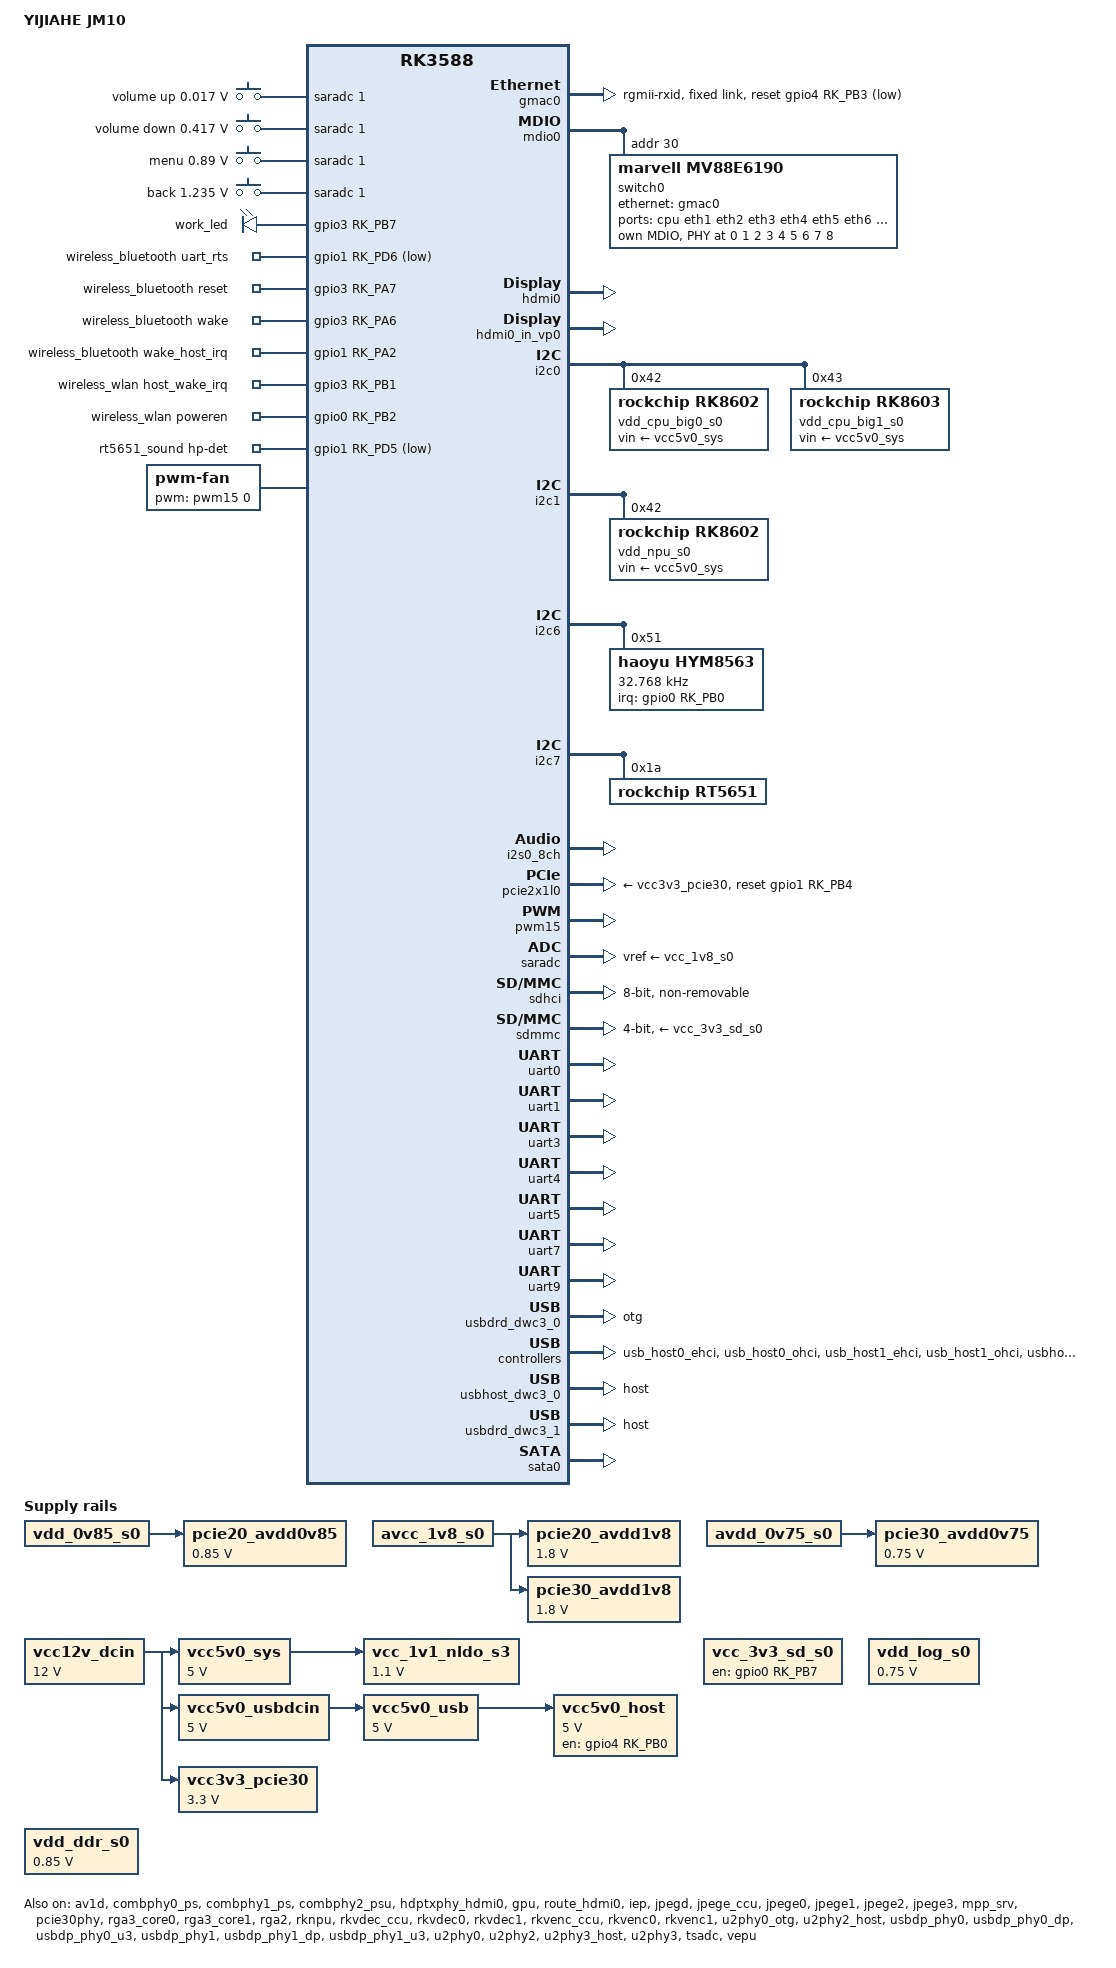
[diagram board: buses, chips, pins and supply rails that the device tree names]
// SPDX-License-Identifier: (GPL-2.0+ OR MIT)
/*
* Copyright (c) 2021 Rockchip Electronics Co., Ltd.
*
*/

/dts-v1/;

#include <dt-bindings/gpio/gpio.h>
#include <dt-bindings/leds/common.h>
#include <dt-bindings/pwm/pwm.h>
#include <dt-bindings/pinctrl/rockchip.h>
#include <dt-bindings/input/rk-input.h>
#include <dt-bindings/display/drm_mipi_dsi.h>
#include <dt-bindings/display/rockchip_vop.h>
#include <dt-bindings/sensor-dev.h>
#include <dt-bindings/usb/pd.h>
#include "rk3588.dtsi"
#include "rk3588-rk806-single.dtsi"
#include "rk3588-linux.dtsi"

/ {
	model = "YIJIAHE JM10";
	compatible = "yijiahe,jm10", "rockchip,rk3588";

	adc_keys: adc-keys {
		compatible = "adc-keys";
		io-channels = <&saradc 1>;
		io-channel-names = "buttons";
		keyup-threshold-microvolt = <1800000>;
		poll-interval = <100>;

		vol-up-key {
			label = "volume up";
			linux,code = <KEY_VOLUMEUP>;
			press-threshold-microvolt = <17000>;
		};

		vol-down-key {
			label = "volume down";
			linux,code = <KEY_VOLUMEDOWN>;
			press-threshold-microvolt = <417000>;
		};

		menu-key {
			label = "menu";
			linux,code = <KEY_MENU>;
			press-threshold-microvolt = <890000>;
		};

		back-key {
			label = "back";
			linux,code = <KEY_BACK>;
			press-threshold-microvolt = <1235000>;
		};
	};

	bt_sco: bt-sco {
		status = "disabled";
		compatible = "delta,dfbmcs320";
		#sound-dai-cells = <1>;
	};

	bt_sound: bt-sound {
		status = "disabled";
		compatible = "simple-audio-card";
		simple-audio-card,format = "dsp_a";
		simple-audio-card,bitclock-inversion;
		simple-audio-card,mclk-fs = <256>;
		simple-audio-card,name = "rockchip,bt";
		simple-audio-card,cpu {
			sound-dai = <&i2s2_2ch>;
		};
		simple-audio-card,codec {
			sound-dai = <&bt_sco 1>;
		};
	};

	hdmi0_sound: hdmi0-sound {
		status = "disabled";
		compatible = "rockchip,hdmi";
		rockchip,mclk-fs = <128>;
		rockchip,card-name = "rockchip-hdmi0";
		rockchip,cpu = <&i2s5_8ch>;
		rockchip,codec = <&hdmi0>;
		rockchip,jack-det;
	};

	hdmi1_sound: hdmi1-sound {
		status = "disabled";
		compatible = "rockchip,hdmi";
		rockchip,mclk-fs = <128>;
		rockchip,card-name = "rockchip-hdmi1";
		rockchip,cpu = <&i2s6_8ch>;
		rockchip,codec = <&hdmi1>;
		rockchip,jack-det;
	};

	leds: leds {
		compatible = "gpio-leds";
		work_led: work {
			gpios = <&gpio3 RK_PB7 GPIO_ACTIVE_HIGH>;
			linux,default-trigger = "heartbeat";
		};
	};

	test-power {
		status = "okay";
	};

	vcc12v_dcin: vcc12v-dcin {
		compatible = "regulator-fixed";
		regulator-name = "vcc12v_dcin";
		regulator-always-on;
		regulator-boot-on;
		regulator-min-microvolt = <12000000>;
		regulator-max-microvolt = <12000000>;
	};

	vcc5v0_sys: vcc5v0-sys {
		compatible = "regulator-fixed";
		regulator-name = "vcc5v0_sys";
		regulator-always-on;
		regulator-boot-on;
		regulator-min-microvolt = <5000000>;
		regulator-max-microvolt = <5000000>;
		vin-supply = <&vcc12v_dcin>;
	};

	vcc5v0_usbdcin: vcc5v0-usbdcin {
		compatible = "regulator-fixed";
		regulator-name = "vcc5v0_usbdcin";
		regulator-always-on;
		regulator-boot-on;
		regulator-min-microvolt = <5000000>;
		regulator-max-microvolt = <5000000>;
		vin-supply = <&vcc12v_dcin>;
	};

	vcc5v0_usb: vcc5v0-usb {
		compatible = "regulator-fixed";
		regulator-name = "vcc5v0_usb";
		regulator-always-on;
		regulator-boot-on;
		regulator-min-microvolt = <5000000>;
		regulator-max-microvolt = <5000000>;
		vin-supply = <&vcc5v0_usbdcin>;
	};

	pcie20_avdd0v85: pcie20-avdd0v85 {
		compatible = "regulator-fixed";
		regulator-name = "pcie20_avdd0v85";
		regulator-boot-on;
		regulator-always-on;
		regulator-min-microvolt = <850000>;
		regulator-max-microvolt = <850000>;
		vin-supply = <&vdd_0v85_s0>;
	};

	pcie20_avdd1v8: pcie20-avdd1v8 {
		compatible = "regulator-fixed";
		regulator-name = "pcie20_avdd1v8";
		regulator-boot-on;
		regulator-always-on;
		regulator-min-microvolt = <1800000>;
		regulator-max-microvolt = <1800000>;
		vin-supply = <&avcc_1v8_s0>;
	};

	pcie30_avdd0v75: pcie30-avdd0v75 {
		compatible = "regulator-fixed";
		regulator-name = "pcie30_avdd0v75";
		regulator-boot-on;
		regulator-always-on;
		regulator-min-microvolt = <750000>;
		regulator-max-microvolt = <750000>;
		vin-supply = <&avdd_0v75_s0>;
	};

	pcie30_avdd1v8: pcie30-avdd1v8 {
		compatible = "regulator-fixed";
		regulator-name = "pcie30_avdd1v8";
		regulator-boot-on;
		regulator-always-on;
		regulator-min-microvolt = <1800000>;
		regulator-max-microvolt = <1800000>;
		vin-supply = <&avcc_1v8_s0>;
	};

	vcc_1v1_nldo_s3: vcc-1v1-nldo-s3 {
		compatible = "regulator-fixed";
		regulator-name = "vcc_1v1_nldo_s3";
		regulator-always-on;
		regulator-boot-on;
		regulator-min-microvolt = <1100000>;
		regulator-max-microvolt = <1100000>;
		vin-supply = <&vcc5v0_sys>;
	};

	vcc3v3_pcie30: vcc3v3-pcie30 {
		compatible = "regulator-fixed";
		regulator-name = "vcc3v3_pcie30";
		regulator-min-microvolt = <3300000>;
		regulator-max-microvolt = <3300000>;
		regulator-boot-on;
		enable-active-high;
		pinctrl-names = "default";
		pinctrl-0 = <&wifi_poweren_gpio>;
		vin-supply = <&vcc12v_dcin>;
		//gpios = <&gpio1 RK_PB2 GPIO_ACTIVE_HIGH>;
		//startup-delay-us = <5000>;
	};

	vcc5v0_host: vcc5v0-host {
		compatible = "regulator-fixed";
		regulator-name = "vcc5v0_host";
		regulator-boot-on;
		regulator-always-on;
		regulator-min-microvolt = <5000000>;
		regulator-max-microvolt = <5000000>;
		enable-active-high;
		gpio = <&gpio4 RK_PB0 GPIO_ACTIVE_HIGH>;
		vin-supply = <&vcc5v0_usb>;
		pinctrl-names = "default";
		pinctrl-0 = <&vcc5v0_host_en>;
	};

	vcc_3v3_sd_s0: vcc-3v3-sd-s0-regulator {
		compatible = "regulator-fixed";
		gpio = <&gpio0 RK_PB7 GPIO_ACTIVE_HIGH>;
		pinctrl-names = "default";
		pinctrl-0 = <&sd_s0_pwr>;
		regulator-name = "vcc_3v3_sd_s0";
		enable-active-high;
	};

	wireless_bluetooth: wireless-bluetooth {
		compatible = "bluetooth-platdata";
		clocks = <&hym8563>;
		clock-names = "ext_clock";
		uart_rts_gpios = <&gpio1 RK_PD6 GPIO_ACTIVE_LOW>;
		pinctrl-names = "default", "rts_gpio";
		pinctrl-0 = <&uart1m1_rtsn>;
		pinctrl-1 = <&uart1_rts_gpio>;
		BT,reset_gpio    = <&gpio3 RK_PA7 GPIO_ACTIVE_HIGH>;
		BT,wake_gpio     = <&gpio3 RK_PA6 GPIO_ACTIVE_HIGH>;
		BT,wake_host_irq = <&gpio1 RK_PA2 GPIO_ACTIVE_HIGH>;
		status = "okay";
	};

	wireless_wlan: wireless-wlan {
		compatible = "wlan-platdata";
		wifi_chip_type = "ap6275p";
		pinctrl-names = "default";
		pinctrl-0 = <&wifi_host_wake_irq>;
		WIFI,host_wake_irq = <&gpio3 RK_PB1 GPIO_ACTIVE_HIGH>;
		WIFI,poweren_gpio = <&gpio0 RK_PB2 GPIO_ACTIVE_HIGH>;
		status = "okay";
	};


	/* If hdmirx node is disabled, delete the reserved-memory node here. */
	reserved-memory {
		#address-cells = <2>;
		#size-cells = <2>;
		ranges;
	
		/* Reserve 256MB memory for hdmirx-controller@fdee0000 */
		cma {
			compatible = "shared-dma-pool";
			reusable;
			reg = <0x00 0x10000000 0x00 0x8000000>;
			size = <0x00 0x800000>;
			linux,cma-default;
		};
	};

	rt5651_sound: rt5651-sound {
		status = "okay";
		compatible = "simple-audio-card";
		pinctrl-names = "default";
		pinctrl-0 = <&hp_det>;
		simple-audio-card,hp-det-gpio = <&gpio1 RK_PD5 GPIO_ACTIVE_LOW>;
		simple-audio-card,format = "i2s";
		simple-audio-card,name = "realtek,rt5651-codec";
		simple-audio-card,mclk-fs = <256>;
		simple-audio-card,widgets =
			"Headphone", "Headphone Jack",
			"Speaker", "Speaker";
		simple-audio-card,routing =
			"Speaker", "HPOL MIX",
			"Speaker", "HPOR MIX",
			"Headphone Jack", "HPOL MIX",
			"Headphone Jack", "HPOR MIX";
		simple-audio-card,cpu {
			sound-dai = <&i2s0_8ch>;
		};
		simple-audio-card,codec {
			sound-dai = <&rt5651>;
		};
	};

	fan: pwm-fan {
		status = "okay";
		compatible = "pwm-fan";
		#cooling-cells = <2>;
		pwms = <&pwm15 0 1000000 0>;
		duty_ns = <500000>;
		cooling-levels = <0 50 100 150 220 255>;
		rockchip,temp-trips = <
			40000   1
			45000   2
			50000   3
			55000   4
			60000   5
		>;
	};

};

&av1d {
	status = "okay";
};

&av1d_mmu {
	status = "okay";
};

/* sata pm */
&combphy0_ps {
	status = "okay";
};

&combphy1_ps {
	status = "okay";
};

// USB3.1/SATA/PCIe Combo PHY
&combphy2_psu {
	status = "okay";
};

&cpu_l0 {
	cpu-supply = <&vdd_cpu_lit_s0>;
	mem-supply = <&vdd_cpu_lit_mem_s0>;
};

&cpu_b0 {
	cpu-supply = <&vdd_cpu_big0_s0>;
	mem-supply = <&vdd_cpu_big0_mem_s0>;
};

&cpu_b2 {
	cpu-supply = <&vdd_cpu_big1_s0>;
	mem-supply = <&vdd_cpu_big1_mem_s0>;
};

#if kerneL_legacy_5_10
&display_subsystem {
	clocks = <&hdptxphy_hdmi_clk0>;
	clock-names = "hdmi0_phy_pll";
};
#else
&display_subsystem {
	clocks = <&hdptxphy_hdmi0>;
	clock-names = "hdmi0_phy_pll";
};
#endif

&hdptxphy_hdmi0 {
	status = "okay";
};

&gmac0 {
	/* Use rgmii-rxid mode to disable rx delay inside Soc */
	phy-mode = "rgmii-rxid";
	clock_in_out = "output";
	snps,reset-gpio = <&gpio4 RK_PB3 GPIO_ACTIVE_LOW>;
	snps,reset-active-low;
	/* Reset time is 20ms, 100ms for rtl8211f */
	snps,reset-delays-us = <0 20000 100000>;

	pinctrl-names = "default";
	pinctrl-0 = <&gmac0_miim
	&gmac0_tx_bus2
	&gmac0_rx_bus2
	&gmac0_rgmii_clk
	&gmac0_rgmii_bus>;

	tx_delay = <0x45>;
	//rx_delay = <0x4a>;
	status = "okay";

	//phy-handle = <&rgmii_phy0>;

	fixed-link {
		speed = <1000>;
		full-duplex;
	};

};


/*
&mdio0 {
	rgmii_phy0: phy@1 {
		compatible = "ethernet-phy-ieee802.3-c22";
		reg = <0x1>;
	};
};
*/


&mdio0 {
	switch0: switch@0 {
		compatible = "marvell,mv88e6190";
		#address-cells = <1>;
		#size-cells = <0>;				
		reg = <0x1e>;
		dsa,member = <0 0>;
		status = "okay";

		ports {
			#address-cells = <1>;
			#size-cells = <0>;

			port@0 {
				reg = <0x0>;
				label = "cpu";
				ethernet = <&gmac0>;
				phy-handle = <&switch0phy0>;
				phy-mode = "rgmii";

				fixed-link {
					speed = <1000>;
					full-duplex;
				};

			};

			port@1 {
				reg = <0x1>;
				label = "eth1";
				phy-handle = <&switch0phy1>;
			};

			port@2 {
				reg = <0x2>;
				label = "eth2";
				phy-handle = <&switch0phy2>;
			};

			port@3 {
				reg = <0x3>;
				label = "eth3";
				phy-handle = <&switch0phy3>;
			};

			port@4 {
				reg = <0x4>;
				label = "eth4";
				phy-handle = <&switch0phy4>;
			};

			port@5 {
				reg = <0x5>;
				label = "eth5";
				phy-handle = <&switch0phy5>;
			};

			port@6 {
				reg = <0x6>;
				label = "eth6";
				phy-handle = <&switch0phy6>;
			};


			port@7 {
				reg = <0x7>;
				label = "eth7";
				phy-handle = <&switch0phy7>;
			};

			port@8 {
				reg = <0x8>;
				label = "eth8";
				phy-handle = <&switch0phy8>;
			};
		};	

		mdio {
			#address-cells = <1>;
			#size-cells = <0>;

			// The MV88E6390 does not report the phy type on the MDIO bus properly, so we force it to the correct value here using the compatible property. 
			switch0phy0: ethernet-phy@0 {
				compatible = "ethernet-phy-id0141.0f90";
				reg = <0>;
				broken-turn-around;
			};
			switch0phy1: ethernet-phy@1 {
				compatible = "ethernet-phy-id0141.0f90";
				reg = <1>;
				broken-turn-around;
			};
			switch0phy2: ethernet-phy@2 {
				compatible = "ethernet-phy-id0141.0f90";
				reg = <2>;
				broken-turn-around;
			};
			switch0phy3: ethernet-phy@3 {
				compatible = "ethernet-phy-id0141.0f90";
				reg = <3>;
				broken-turn-around;
			};
			switch0phy4: ethernet-phy@4 {
				compatible = "ethernet-phy-id0141.0f90";
				reg = <4>;
				broken-turn-around;
			};
			switch0phy5: ethernet-phy@5 {
				compatible = "ethernet-phy-id0141.0f90";
				reg = <5>;
				broken-turn-around;
			};
			switch0phy6: ethernet-phy@6 {
				compatible = "ethernet-phy-id0141.0f90";
				reg = <6>;
				broken-turn-around;
			};
			switch0phy7: ethernet-phy@7 {
				compatible = "ethernet-phy-id0141.0f90";
				reg = <7>;
				broken-turn-around;
			};
			switch0phy8: ethernet-phy@8 {
				compatible = "ethernet-phy-id0141.0f90";
				reg = <8>;
				broken-turn-around;
			};
		};

	};
};

&gpu {
	mali-supply = <&vdd_gpu_s0>;
	mem-supply = <&vdd_gpu_mem_s0>;
	status = "okay";
};

&hdmi0 {
	enable-gpios = <&gpio4 RK_PB1 GPIO_ACTIVE_HIGH>;
	status = "okay";
};

&hdmi0_in_vp0 {
	status = "okay";
};

&route_hdmi0{
	status = "okay";
};

&i2c0 {
	pinctrl-0 = <&i2c0m2_xfer>;
	#address-cells = <1>;
	#size-cells = <0>;
	status = "okay";

	vdd_cpu_big0_s0: vdd_cpu_big0_mem_s0: rk8602@42 {
		compatible = "rockchip,rk8602";
		reg = <0x42>;
		vin-supply = <&vcc5v0_sys>;
		regulator-compatible = "rk860x-reg";
		//regulator-name = "vdd_cpu_big0_s1";
		regulator-name = "vdd_cpu_big0_s0";
		regulator-min-microvolt = <550000>;
		regulator-max-microvolt = <1050000>;
		regulator-ramp-delay = <2300>;
		rockchip,suspend-voltage-selector = <1>;
		regulator-boot-on;
		regulator-always-on;
		regulator-state-mem {
			regulator-off-in-suspend;
		};
	};

	vdd_cpu_big1_s0: vdd_cpu_big1_mem_s0: rk8603@43 {
		compatible = "rockchip,rk8603";
		reg = <0x43>;
		vin-supply = <&vcc5v0_sys>;
		regulator-compatible = "rk860x-reg";
		regulator-name = "vdd_cpu_big1_s0";
		regulator-min-microvolt = <550000>;
		regulator-max-microvolt = <1050000>;
		regulator-ramp-delay = <2300>;
		rockchip,suspend-voltage-selector = <1>;
		regulator-boot-on;
		regulator-always-on;
		regulator-state-mem {
			regulator-off-in-suspend;
		};
	};
};

&i2c1 {
	status = "okay";
	pinctrl-names = "default";
	pinctrl-0 = <&i2c1m2_xfer>;

	vdd_npu_s0: vdd_npu_mem_s0: rk8602@42 {
		compatible = "rockchip,rk8602";
		reg = <0x42>;
		vin-supply = <&vcc5v0_sys>;
		regulator-compatible = "rk860x-reg";
		regulator-name = "vdd_npu_s0";
		regulator-min-microvolt = <550000>;
		regulator-max-microvolt = <950000>;
		regulator-ramp-delay = <2300>;
		rockchip,suspend-voltage-selector = <1>;
		regulator-boot-on;
		regulator-always-on;
		regulator-state-mem {
			regulator-off-in-suspend;
		};
	};
};

&i2c4 {
	pinctrl-0 = <&i2c4m1_xfer>;
	status = "disabled";
};

&i2c6 {
	status = "okay";
	//clock-frequency = <400000>;// For others Display Port Screen
	pinctrl-names = "default";
	pinctrl-0 = <&i2c6m0_xfer>;

	hym8563: hym8563@51 {
		compatible = "haoyu,hym8563";
		reg = <0x51>;
		#clock-cells = <0>;
		clock-frequency = <32768>;
		clock-output-names = "hym8563";
		pinctrl-names = "default";
		pinctrl-0 = <&hym8563_int>;
		interrupt-parent = <&gpio0>;
		interrupts = <RK_PB0 IRQ_TYPE_LEVEL_LOW>;
		wakeup-source;
		status = "okay";
	};

};

&i2c7 {
	status = "okay";

	rt5651: rt5651@1a {
		status = "okay";
		#sound-dai-cells = <0>;
		compatible = "rockchip,rt5651";
		reg = <0x1a>;
		clock-names = "mclk";
		clocks = <&cru I2S0_8CH_MCLKOUT>;
		assigned-clocks = <&cru I2S0_8CH_MCLKOUT>;
		assigned-clock-rates = <1050000>;
		pinctrl-names = "default";
		pinctrl-0 = <&i2s0_mclk>;
	};
};

&i2s0_8ch {
	status = "okay";
	pinctrl-0 = <&i2s0_lrck
	&i2s0_sclk
	&i2s0_sdi0
	&i2s0_sdo0>;
};

&iep {
	status = "okay";
};

&iep_mmu {
	status = "okay";
};

&jpegd {
	status = "okay";
};

&jpegd_mmu {
	status = "okay";
};

&jpege_ccu {
	status = "okay";
};

&jpege0 {
	status = "okay";
};

&jpege0_mmu {
	status = "okay";
};

&jpege1 {
	status = "okay";
};

&jpege1_mmu {
	status = "okay";
};

&jpege2 {
	status = "okay";
};

&jpege2_mmu {
	status = "okay";
};

&jpege3 {
	status = "okay";
};

&jpege3_mmu {
	status = "okay";
};

&mpp_srv {
	status = "okay";
};

&pcie2x1l0 {
	reset-gpios = <&gpio1 RK_PB4 GPIO_ACTIVE_HIGH>;
	rockchip,skip-scan-in-resume;
	status = "okay";
	rockchip,perst-inactive-ms = <500>;
	vpcie3v3-supply = <&vcc3v3_pcie30>;
};

/* pcie3.0 x 4 slot */
&pcie30phy {
	status = "okay";
	rockchip,pcie30-phymode = <PHY_MODE_PCIE_AGGREGATION>;
};

&pinctrl {

	headphone {
		hp_det: hp-det {
			rockchip,pins = <1 RK_PD5 RK_FUNC_GPIO &pcfg_pull_none>;
		};
	};

	hym8563 {
		hym8563_int: hym8563-int {
			rockchip,pins = <0 RK_PB0 RK_FUNC_GPIO &pcfg_pull_up>;
		};
	};


	sdio-pwrseq {
		wifi_enable_h: wifi-enable-h {
			rockchip,pins = <0 RK_PC4 RK_FUNC_GPIO &pcfg_pull_up>;
		};
	};

	sdmmc {
		sd_s0_pwr: sd-s0-pwr {
			rockchip,pins = <0 RK_PB7 RK_FUNC_GPIO &pcfg_pull_up>;
		};
	};

	usb {
		vcc5v0_host_en: vcc5v0-host-en {
			rockchip,pins = <4 RK_PB0 RK_FUNC_GPIO &pcfg_pull_none>;
		};
	};


	wireless-bluetooth {
		uart1_rts_gpio: uart1-rts-gpio {
			rockchip,pins = <1 RK_PD6 RK_FUNC_GPIO &pcfg_pull_none>;
		};
	};

	wireless-wlan {
		wifi_poweren_gpio: wifi-poweren-gpio {
			rockchip,pins = <3 RK_PB1 RK_FUNC_GPIO &pcfg_pull_up>;
		};

		wifi_host_wake_irq: wifi-host-wake-irq {
			rockchip,pins = <0 RK_PB2 RK_FUNC_GPIO &pcfg_pull_up>;
		};
	};
};

&pwm15 {
	//pinctrl-names = "active";
	pinctrl-0 = <&pwm15m2_pins>;
	status = "okay";
};

&rga3_core0 {
	status = "okay";
};

&rga3_0_mmu {
	status = "okay";
};

&rga3_core1 {
	status = "okay";
};

&rga3_1_mmu {
	status = "okay";
};

&rga2 {
	status = "okay";
};

&rknpu {
	rknpu-supply = <&vdd_npu_s0>;
	mem-supply = <&vdd_npu_mem_s0>;
	status = "okay";
};

&rknpu_mmu {
	status = "okay";
};

&rkvdec_ccu {
	status = "okay";
};

&rkvdec0 {
	status = "okay";
};

&rkvdec0_mmu {
	status = "okay";
};

&rkvdec1 {
	status = "okay";
};

&rkvdec1_mmu {
	status = "okay";
};

&rkvenc_ccu {
	status = "okay";
};

&rkvenc0 {
	/*evb add */
	venc-supply = <&vdd_vdenc_s0>;
	mem-supply = <&vdd_vdenc_mem_s0>;
	status = "okay";
};

&rkvenc0_mmu {
	status = "okay";
};

&rkvenc1 {
	/*evb add */
	venc-supply = <&vdd_vdenc_s0>;
	mem-supply = <&vdd_vdenc_mem_s0>;
	status = "okay";
};

&rkvenc1_mmu {
	status = "okay";
};

&rockchip_suspend {
	status = "okay";
	rockchip,sleep-debug-en = <1>;
};

&saradc {
	status = "okay";
	vref-supply = <&vcc_1v8_s0>;
};

&sdhci {
	bus-width = <8>;
	no-sdio;
	no-sd;
	non-removable;
	max-frequency = <200000000>;
	mmc-hs400-1_8v;
	mmc-hs400-enhanced-strobe;
	status = "okay";
};

&sdmmc {
	max-frequency = <150000000>;
	no-sdio;
	no-mmc;
	bus-width = <4>;
	cap-mmc-highspeed;
	cap-sd-highspeed;
	disable-wp;
	sd-uhs-sdr104;
	vqmmc-supply = <&vccio_sd_s0>;
	vmmc-supply = <&vcc_3v3_sd_s0>;
	status = "okay";
};

&soc_thermal {
	sustainable-power = <15000>;
	polling-delay = <1000>;
	polling-delay-passive = <2000>;

	trips {
		trip0: trip-point@0 {
			temperature = <55000>;
			hysteresis = <5000>;
			type = "active";
		};
		trip1: trip-point@1 {
			temperature = <60000>;
			hysteresis = <5000>;
			type = "active";
		};
		trip2: trip-point@2 {
			temperature = <65000>;
			hysteresis = <5000>;
			type = "active";
		};
		trip3: trip-point@3 {
			temperature = <70000>;
			hysteresis = <5000>;
			type = "active";
		};
		trip4: trip-point@4 {
			temperature = <75000>;
			hysteresis = <5000>;
			type = "active";
		};
		pcritical: trip-point@5 {
			temperature = <80000>;
			hysteresis = <1000>;
			type = "active";
		};
	};

	cooling-maps {
		map0 {
			trip = <&trip0>;
			cooling-device = <&fan 0 1>;
			contribution = <1024>;
		};
		map1 {
			trip = <&trip1>;
			cooling-device = <&fan 1 2>;
			contribution = <1024>;
		};
		map2 {
			trip = <&trip2>;
			cooling-device = <&fan 2 3>;
			contribution = <1024>;
		};
		map3 {
			trip = <&trip3>;
			cooling-device = <&fan 3 4>;
			contribution = <1024>;
		};
		map4 {
			trip = <&trip4>;
			cooling-device = <&fan 4 5>;
			contribution = <1024>;
		};
		map5 {
			trip = <&pcritical>;
			cooling-device = <&fan 5 6>;
			contribution = <1024>;
		};
	};
};

&uart0 {
    pinctrl-0 = <&uart0m2_xfer>;
    status = "okay";
};

&uart1 {
	status = "okay";
	pinctrl-names = "default";
	pinctrl-0 = <&uart1m1_xfer>, <&uart1m1_ctsn>;
};

&uart3 {
    status = "okay";
};

&uart4 {
    status = "okay";
};

&uart5 {
    status = "okay";
};

&uart7 {
    status = "okay";
};

&uart9 {
	pinctrl-names = "default";
	pinctrl-0 = <&uart9m2_xfer>;
	status = "okay";
};

&u2phy0_otg {
	//rockchip,typec-vbus-det;
	status = "okay";
};

&u2phy2_host {
	phy-supply = <&vcc5v0_host>;
	status = "okay";
};

&usbdp_phy0 {
	status = "okay";
	rockchip,dp-lane-mux = <2 3>;
/*
	orientation-switch;
	svid = <0xff01>;
	sbu1-dc-gpios = <&gpio4 RK_PA6 GPIO_ACTIVE_HIGH>;
	sbu2-dc-gpios = <&gpio4 RK_PA7 GPIO_ACTIVE_HIGH>;

	port {
		#address-cells = <1>;
		#size-cells = <0>;
		usbdp_phy0_orientation_switch: endpoint@0 {
			reg = <0>;
			//remote-endpoint = <&usbc0_orien_sw>;
		};
	
		usbdp_phy0_dp_altmode_mux: endpoint@1 {
			reg = <1>;
			//remote-endpoint = <&dp_altmode_mux>;
		};
	};
*/
};

&usbdp_phy0_dp {
	status = "okay";
};

&usbdp_phy0_u3 {
	status = "okay";
};

&usbdp_phy1 {
	rockchip,dp-lane-mux = <2 3>;
	status = "okay";
};

&usbdp_phy1_dp {
	status = "okay";
};

&usbdp_phy1_u3 {
	status = "okay";
};

&usbdrd_dwc3_0 {
	status = "okay";
	extcon = <&u2phy0>;
	dr_mode = "otg";
};

&u2phy0 {
	status = "okay";
};

&u2phy2 {
	status = "okay";
};

&u2phy3_host {
	phy-supply = <&vcc5v0_host>;
	status = "okay";
};

&u2phy3 {
	status = "okay";
};

&usb_host0_ehci {
	status = "okay";
};

&usb_host0_ohci {
	status = "okay";
};

&usb_host1_ehci {
	status = "okay";
};

&usb_host1_ohci {
	status = "okay";
};

/*usb3.1 host2 controller for 5G module*/
&usbhost3_0 {
	status = "okay";
};

&usbhost_dwc3_0 {
	dr_mode = "host";
	status = "okay";
};

&usbdrd3_0 {
	status = "okay";
};

&usbdrd3_1 {
	status = "okay";
};

&usbdrd_dwc3_1 {
	dr_mode = "host";
	status = "okay";
};

&vdd_gpu_s0 {
	regulator-always-on;
};

&vdd_log_s0 {
	/delete-property/ regulator-off-in-suspend;
	regulator-on-in-suspend;
	regulator-min-microvolt = <750000>;
};

&vdd_ddr_s0 {
	regulator-min-microvolt = <850000>;
	regulator-max-microvolt = <850000>;
};

&vcc_2v0_pldo_s3 {
	regulator-init-microvolt = <2000000>;
};

&vcc_3v3_s3 {
	regulator-init-microvolt = <3300000>;
};

&vcc_1v8_s3 {
	regulator-init-microvolt = <1800000>;
};


/* vp0 & vp1 splice for 8K output */
&vp0 {
	rockchip,plane-mask = <(1 << ROCKCHIP_VOP2_CLUSTER0 | 1 << ROCKCHIP_VOP2_ESMART0)>;
	rockchip,primary-plane = <ROCKCHIP_VOP2_ESMART0>;
	assigned-clocks = <&cru ACLK_VOP>;
	assigned-clock-rates = <800000000>;
};

&vp1 {
	rockchip,plane-mask = <(1 << ROCKCHIP_VOP2_CLUSTER1 | 1 << ROCKCHIP_VOP2_ESMART1)>;
	rockchip,primary-plane = <ROCKCHIP_VOP2_ESMART1>;
};

&vp2 {
	rockchip,plane-mask = <(1 << ROCKCHIP_VOP2_CLUSTER2 | 1 << ROCKCHIP_VOP2_ESMART2)>;
	rockchip,primary-plane = <ROCKCHIP_VOP2_ESMART2>;
};

&vp3 {
	rockchip,plane-mask = <(1 << ROCKCHIP_VOP2_CLUSTER3 | 1 << ROCKCHIP_VOP2_ESMART3)>;
	rockchip,primary-plane = <ROCKCHIP_VOP2_ESMART3>;
};


&tsadc {
	status = "okay";
};

&vepu {
	status = "okay";
};

&vdpu {
	status = "okay";
};

&vdpu_mmu {
	status = "okay";
};

&vop {
	status = "okay";
	vop-supply = <&vdd_log_s0>;
};

&vop_mmu {
	status = "okay";
};

&wdt {
	status = "okay";
};

&u2phy1_otg {
	phy-supply = <&vcc5v0_host>;
	status = "okay";
};

&u2phy1 {
	status = "okay";
};



&sata0 {
	status = "okay";
};

/*
&avcc_1v8_s0{
	regulator-state-mem {
		regulator-on-in-suspend;
	};
};

&vcc_1v8_s0{
	regulator-state-mem {
		regulator-on-in-suspend;
		regulator-suspend-microvolt = <1800000>;
	};
};
*/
